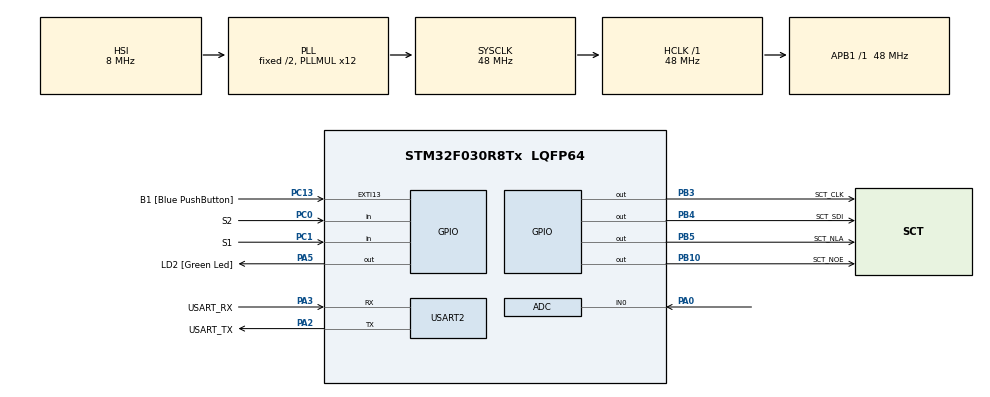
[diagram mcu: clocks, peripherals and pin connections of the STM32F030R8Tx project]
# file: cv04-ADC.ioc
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ADC.ContinuousConvMode=ENABLE
ADC.Overrun=ADC_OVR_DATA_OVERWRITTEN
ADC.SamplingTime=ADC_SAMPLETIME_239CYCLES_5
Mcu.Family=STM32F0
Mcu.Name=STM32F030R8Tx
Mcu.Package=LQFP64
NVIC.ADC1_IRQn=true\:0\:0\:false\:false\:true\:true\:true\:true
PA0.Mode=IN0
PA0.Signal=ADC_IN0
PA13.GPIO_Label=TMS
PA13.Mode=Serial_Wire
PA13.Signal=SYS_SWDIO
PA14.GPIO_Label=TCK
PA14.Mode=Serial_Wire
PA14.Signal=SYS_SWCLK
PA2.GPIO_Label=USART_TX
PA2.GPIO_Mode=GPIO_MODE_AF_PP
PA2.GPIO_PuPd=GPIO_NOPULL
PA2.GPIO_Speed=GPIO_SPEED_FREQ_LOW
PA2.Mode=Asynchronous
PA2.Signal=USART2_TX
PA3.GPIO_Label=USART_RX
PA3.GPIO_Mode=GPIO_MODE_AF_PP
PA3.GPIO_PuPd=GPIO_NOPULL
PA3.GPIO_Speed=GPIO_SPEED_FREQ_LOW
PA3.Mode=Asynchronous
PA3.Signal=USART2_RX
PA5.GPIO_Label=LD2 [Green Led]
PA5.GPIO_Mode=GPIO_MODE_OUTPUT_PP
PA5.GPIO_PuPd=GPIO_NOPULL
PA5.GPIO_Speed=GPIO_SPEED_FREQ_LOW
PA5.Signal=GPIO_Output
PB10.GPIO_Label=SCT_NOE
PB10.Signal=GPIO_Output
PB3.GPIO_Label=SCT_CLK
PB3.Signal=GPIO_Output
PB4.GPIO_Label=SCT_SDI
PB4.Signal=GPIO_Output
PB5.GPIO_Label=SCT_NLA
PB5.Signal=GPIO_Output
PC0.GPIO_Label=S2
PC0.GPIO_Mode=GPIO_MODE_INPUT
PC0.GPIO_PuPd=GPIO_PULLUP
PC0.Signal=GPIO_Input
PC1.GPIO_Label=S1
PC1.GPIO_Mode=GPIO_MODE_INPUT
PC1.GPIO_PuPd=GPIO_PULLUP
PC1.Signal=GPIO_Input
PC13.GPIO_Label=B1 [Blue PushButton]
PC13.GPIO_ModeDefaultEXTI=GPIO_MODE_IT_FALLING
PC13.Signal=GPXTI13
PC14-OSC32_IN.Mode=LSE-External-Oscillator
PC14-OSC32_IN.Signal=RCC_OSC32_IN
PC15-OSC32_OUT.Mode=LSE-External-Oscillator
PC15-OSC32_OUT.Signal=RCC_OSC32_OUT
PF0-OSC_IN.Mode=HSE-External-Clock-Source
PF0-OSC_IN.Signal=RCC_OSC_IN
PF1-OSC_OUT.Signal=RCC_OSC_OUT
ProjectManager.HeapSize=0x200
ProjectManager.StackSize=0x400
ProjectManager.TargetToolchain=STM32CubeIDE
RCC.AHBFreq_Value=48000000
RCC.APB1Freq_Value=48000000
RCC.APB1TimFreq_Value=48000000
RCC.HCLKFreq_Value=48000000
RCC.PLLMUL=RCC_PLL_MUL12
RCC.SYSCLKFreq_VALUE=48000000
RCC.SYSCLKSource=RCC_SYSCLKSOURCE_PLLCLK
USART2.VirtualMode-Asynchronous=VM_ASYNC
VP_ADC_TempSens_Input.Mode=IN-TempSens
VP_ADC_Vref_Input.Mode=IN-Vrefint
board=NUCLEO-F030R8

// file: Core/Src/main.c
/* USER CODE BEGIN Header */
/**
 ******************************************************************************
 * @file           : main.c
 * @brief          : Main program body
 ******************************************************************************
 * @attention
 *
 * Copyright (c) 2023 STMicroelectronics.
 * All rights reserved.
 *
 * This software is licensed under terms that can be found in the LICENSE file
 * in the root directory of this software component.
 * If no LICENSE file comes with this software, it is provided AS-IS.
 *
 ******************************************************************************
 */
/* USER CODE END Header */
#include "main.h"

/* USER CODE BEGIN Includes */
#include "sct.h"
/* USER CODE END Includes */

/* USER CODE BEGIN PD */
#define ADC_Q 12

/* Temperature sensor calibration value address */
#define TEMP110_CAL_ADDR ((uint16_t*) ((uint32_t) 0x1FFFF7C2))
#define TEMP30_CAL_ADDR ((uint16_t*) ((uint32_t) 0x1FFFF7B8))
/* Internal voltage reference calibration value address */
#define VREFINT_CAL_ADDR ((uint16_t*) ((uint32_t) 0x1FFFF7BA))
/* USER CODE END PD */

ADC_HandleTypeDef hadc;

UART_HandleTypeDef huart2;

/* USER CODE BEGIN PV */
static volatile uint32_t raw_pot;
static volatile uint32_t raw_temp;
static volatile uint32_t raw_volt;
/* USER CODE END PV */

void SystemClock_Config(void);
static void MX_GPIO_Init(void);
static void MX_USART2_UART_Init(void);
static void MX_ADC_Init(void);

/* USER CODE BEGIN 0 */
void HAL_ADC_ConvCpltCallback(ADC_HandleTypeDef* hadc){
	static uint8_t channel = 0;
	static uint32_t avg_pot;

	switch (channel) {
		case 0: // Potentiometer channel
			raw_pot = avg_pot >> ADC_Q;
			avg_pot -= raw_pot;
			avg_pot += HAL_ADC_GetValue(hadc);
			break;
		case 1: // Temperature channel
			raw_temp = HAL_ADC_GetValue(hadc);
			break;
		case 2: // Vrefint channel
			raw_volt = HAL_ADC_GetValue(hadc);
			break;
		default:
			break;
	}

	if (__HAL_ADC_GET_FLAG(hadc, ADC_FLAG_EOS)) {
		channel = 0;
	}
	else {
		channel++;
	}

}
/* USER CODE END 0 */

int main(void)
{

  /* MCU Configuration--------------------------------------------------------*/

  /* Reset of all peripherals, Initializes the Flash interface and the Systick. */
  HAL_Init();

  /* Configure the system clock */
  SystemClock_Config();

  /* Initialize all configured peripherals */
  MX_GPIO_Init();
  MX_USART2_UART_Init();
  MX_ADC_Init();
  /* USER CODE BEGIN 2 */
	// Init SCT library
	sct_init();

	// Init ADC and enable
	HAL_ADCEx_Calibration_Start(&hadc);
	HAL_ADC_Start_IT(&hadc);
  /* USER CODE END 2 */

  /* Infinite loop */
  /* USER CODE BEGIN WHILE */
	while (1)
	{
		// Voltage and temperature calculation from ADC values
		uint32_t voltage = 330 * (*VREFINT_CAL_ADDR) / raw_volt;
		int32_t temperature = (raw_temp - (int32_t)(*TEMP30_CAL_ADDR));
		temperature = temperature * (int32_t)(110 - 30);
		temperature = temperature / (int32_t)(*TEMP110_CAL_ADDR - *TEMP30_CAL_ADDR);
		temperature = temperature + 30;

		// State variables
		static enum { SHOW_POT, SHOW_VOLT, SHOW_TEMP } state = SHOW_POT;
		static uint32_t lastButtonPress = 0;

		// Reading buttons
		if(!HAL_GPIO_ReadPin(S1_GPIO_Port, S1_Pin)) {
			state = SHOW_VOLT;
			lastButtonPress = HAL_GetTick();
		}
		if(!HAL_GPIO_ReadPin(S2_GPIO_Port, S2_Pin)) {
			state = SHOW_TEMP;
			lastButtonPress = HAL_GetTick();
		}

		// Go to default state of showing pot. after 1000ms
		if(HAL_GetTick() > lastButtonPress+1000) {
			state = SHOW_POT;
		}

		// Show values based on current state
		switch (state) {
			case SHOW_POT:
				sct_value((raw_pot*500.9)/4095, (raw_pot*8.5)/4095);
				break;
			case SHOW_TEMP:
				sct_value(temperature, 0);
				break;
			case SHOW_VOLT:
				sct_value(voltage, 0);
				break;
			default:
				break;
		}
		HAL_Delay(10);

    /* USER CODE END WHILE */

	}
}

void SystemClock_Config(void)
{
  RCC_OscInitTypeDef RCC_OscInitStruct = {0};
  RCC_ClkInitTypeDef RCC_ClkInitStruct = {0};

  /** Initializes the RCC Oscillators according to the specified parameters
  * in the RCC_OscInitTypeDef structure.
  */
  RCC_OscInitStruct.OscillatorType = RCC_OSCILLATORTYPE_HSI|RCC_OSCILLATORTYPE_HSI14;
  RCC_OscInitStruct.HSIState = RCC_HSI_ON;
  RCC_OscInitStruct.HSI14State = RCC_HSI14_ON;
  RCC_OscInitStruct.HSICalibrationValue = RCC_HSICALIBRATION_DEFAULT;
  RCC_OscInitStruct.HSI14CalibrationValue = 16;
  RCC_OscInitStruct.PLL.PLLState = RCC_PLL_ON;
  RCC_OscInitStruct.PLL.PLLSource = RCC_PLLSOURCE_HSI;
  RCC_OscInitStruct.PLL.PLLMUL = RCC_PLL_MUL12;
  RCC_OscInitStruct.PLL.PREDIV = RCC_PREDIV_DIV1;
  if (HAL_RCC_OscConfig(&RCC_OscInitStruct) != HAL_OK)
  {
    Error_Handler();
  }

  /** Initializes the CPU, AHB and APB buses clocks
  */
  RCC_ClkInitStruct.ClockType = RCC_CLOCKTYPE_HCLK|RCC_CLOCKTYPE_SYSCLK
                              |RCC_CLOCKTYPE_PCLK1;
  RCC_ClkInitStruct.SYSCLKSource = RCC_SYSCLKSOURCE_PLLCLK;
  RCC_ClkInitStruct.AHBCLKDivider = RCC_SYSCLK_DIV1;
  RCC_ClkInitStruct.APB1CLKDivider = RCC_HCLK_DIV1;

  if (HAL_RCC_ClockConfig(&RCC_ClkInitStruct, FLASH_LATENCY_1) != HAL_OK)
  {
    Error_Handler();
  }
}

static void MX_ADC_Init(void)
{

  ADC_ChannelConfTypeDef sConfig = {0};

  /** Configure the global features of the ADC (Clock, Resolution, Data Alignment and number of conversion)
  */
  hadc.Instance = ADC1;
  hadc.Init.ClockPrescaler = ADC_CLOCK_ASYNC_DIV1;
  hadc.Init.Resolution = ADC_RESOLUTION_12B;
  hadc.Init.DataAlign = ADC_DATAALIGN_RIGHT;
  hadc.Init.ScanConvMode = ADC_SCAN_DIRECTION_FORWARD;
  hadc.Init.EOCSelection = ADC_EOC_SINGLE_CONV;
  hadc.Init.LowPowerAutoWait = DISABLE;
  hadc.Init.LowPowerAutoPowerOff = DISABLE;
  hadc.Init.ContinuousConvMode = ENABLE;
  hadc.Init.DiscontinuousConvMode = DISABLE;
  hadc.Init.ExternalTrigConv = ADC_SOFTWARE_START;
  hadc.Init.ExternalTrigConvEdge = ADC_EXTERNALTRIGCONVEDGE_NONE;
  hadc.Init.DMAContinuousRequests = DISABLE;
  hadc.Init.Overrun = ADC_OVR_DATA_OVERWRITTEN;
  if (HAL_ADC_Init(&hadc) != HAL_OK)
  {
    Error_Handler();
  }

  /** Configure for the selected ADC regular channel to be converted.
  */
  sConfig.Channel = ADC_CHANNEL_0;
  sConfig.Rank = ADC_RANK_CHANNEL_NUMBER;
  sConfig.SamplingTime = ADC_SAMPLETIME_239CYCLES_5;
  if (HAL_ADC_ConfigChannel(&hadc, &sConfig) != HAL_OK)
  {
    Error_Handler();
  }

  /** Configure for the selected ADC regular channel to be converted.
  */
  sConfig.Channel = ADC_CHANNEL_TEMPSENSOR;
  if (HAL_ADC_ConfigChannel(&hadc, &sConfig) != HAL_OK)
  {
    Error_Handler();
  }

  /** Configure for the selected ADC regular channel to be converted.
  */
  sConfig.Channel = ADC_CHANNEL_VREFINT;
  if (HAL_ADC_ConfigChannel(&hadc, &sConfig) != HAL_OK)
  {
    Error_Handler();
  }

}

static void MX_USART2_UART_Init(void)
{

  huart2.Instance = USART2;
  huart2.Init.BaudRate = 38400;
  huart2.Init.WordLength = UART_WORDLENGTH_8B;
  huart2.Init.StopBits = UART_STOPBITS_1;
  huart2.Init.Parity = UART_PARITY_NONE;
  huart2.Init.Mode = UART_MODE_TX_RX;
  huart2.Init.HwFlowCtl = UART_HWCONTROL_NONE;
  huart2.Init.OverSampling = UART_OVERSAMPLING_16;
  huart2.Init.OneBitSampling = UART_ONE_BIT_SAMPLE_DISABLE;
  huart2.AdvancedInit.AdvFeatureInit = UART_ADVFEATURE_NO_INIT;
  if (HAL_UART_Init(&huart2) != HAL_OK)
  {
    Error_Handler();
  }

}

static void MX_GPIO_Init(void)
{
  GPIO_InitTypeDef GPIO_InitStruct = {0};

  /* GPIO Ports Clock Enable */
  __HAL_RCC_GPIOC_CLK_ENABLE();
  __HAL_RCC_GPIOF_CLK_ENABLE();
  __HAL_RCC_GPIOA_CLK_ENABLE();
  __HAL_RCC_GPIOB_CLK_ENABLE();

  /*Configure GPIO pin Output Level */
  HAL_GPIO_WritePin(LD2_GPIO_Port, LD2_Pin, GPIO_PIN_RESET);

  /*Configure GPIO pin Output Level */
  HAL_GPIO_WritePin(GPIOB, SCT_NOE_Pin|SCT_CLK_Pin|SCT_SDI_Pin|SCT_NLA_Pin, GPIO_PIN_RESET);

  /*Configure GPIO pin : B1_Pin */
  GPIO_InitStruct.Pin = B1_Pin;
  GPIO_InitStruct.Mode = GPIO_MODE_IT_FALLING;
  GPIO_InitStruct.Pull = GPIO_NOPULL;
  HAL_GPIO_Init(B1_GPIO_Port, &GPIO_InitStruct);

  /*Configure GPIO pins : S2_Pin S1_Pin */
  GPIO_InitStruct.Pin = S2_Pin|S1_Pin;
  GPIO_InitStruct.Mode = GPIO_MODE_INPUT;
  GPIO_InitStruct.Pull = GPIO_PULLUP;
  HAL_GPIO_Init(GPIOC, &GPIO_InitStruct);

  /*Configure GPIO pin : LD2_Pin */
  GPIO_InitStruct.Pin = LD2_Pin;
  GPIO_InitStruct.Mode = GPIO_MODE_OUTPUT_PP;
  GPIO_InitStruct.Pull = GPIO_NOPULL;
  GPIO_InitStruct.Speed = GPIO_SPEED_FREQ_LOW;
  HAL_GPIO_Init(LD2_GPIO_Port, &GPIO_InitStruct);

  /*Configure GPIO pins : SCT_NOE_Pin SCT_CLK_Pin SCT_SDI_Pin SCT_NLA_Pin */
  GPIO_InitStruct.Pin = SCT_NOE_Pin|SCT_CLK_Pin|SCT_SDI_Pin|SCT_NLA_Pin;
  GPIO_InitStruct.Mode = GPIO_MODE_OUTPUT_PP;
  GPIO_InitStruct.Pull = GPIO_NOPULL;
  GPIO_InitStruct.Speed = GPIO_SPEED_FREQ_LOW;
  HAL_GPIO_Init(GPIOB, &GPIO_InitStruct);

}

void Error_Handler(void)
{
	__disable_irq();
	while (1)
	{
	}
}
